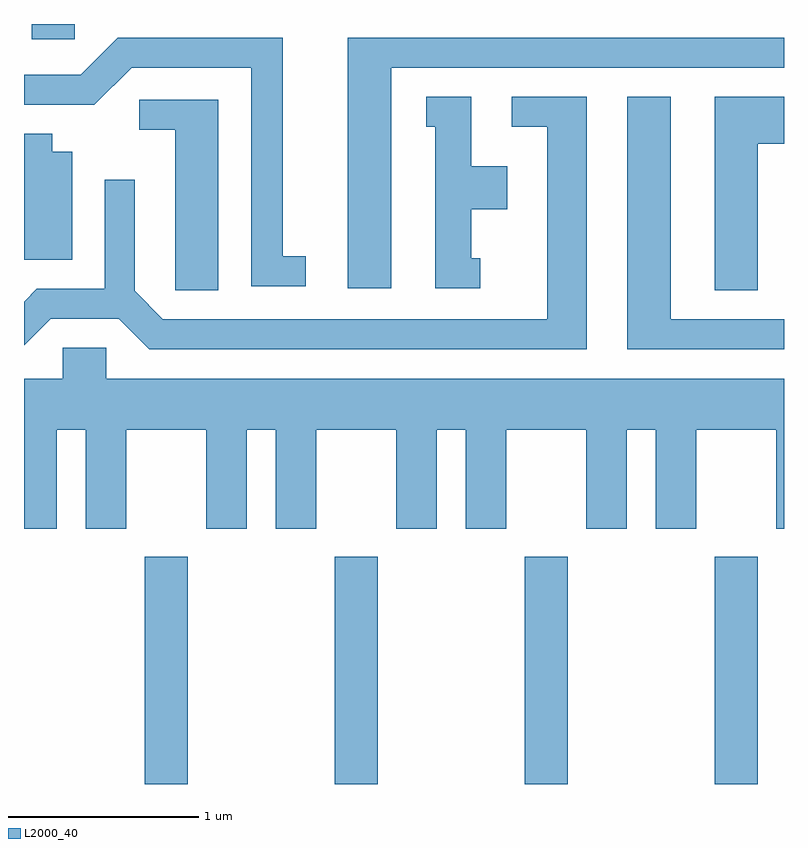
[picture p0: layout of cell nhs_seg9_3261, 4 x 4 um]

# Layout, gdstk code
import gdstk
lib = gdstk.Library(unit=1e-6, precision=1e-09)
def R(c, l, rs):  # rectangles x0, y0, x1, y1
    for r in rs: c.add(gdstk.rectangle(r[:2], r[2:], *l))
def A(c, l, x, y, w, h, nx, ny, dx, dy):  # array of equal rectangles
    R(c, l, [(x+i*dx, y+j*dy, x+i*dx+w, y+j*dy+h) for i in range(nx) for j in range(ny)])
def P(c, l, *ps):  # polygons
    for p in ps: c.add(gdstk.Polygon(p, *l))
L2000_40 = (2000, 40)

nhs_seg9_3261 = lib.new_cell('nhs_seg9_3261')
A(nhs_seg9_3261, L2000_40, 282.246, 1954.432, 0.228, 1.197, 4, 1, 1, 0)
R(nhs_seg9_3261, L2000_40, [(281.651,1958.351,281.879,1958.432)])
P(nhs_seg9_3261, L2000_40, [(283.544,1958.201),(285.611,1958.201),(285.611,1958.359),(283.316,1958.359),(283.316,1957.041),(283.544,1957.041)],
  [(283.093,1957.209),(282.974,1957.209),(282.974,1958.359),(282.104,1958.359),(281.909,1958.164),(281.611,1958.164),(281.611,1958.006),(281.982,1958.006),(282.177,1958.201),(282.806,1958.201),(282.806,1957.051),(283.093,1957.051)],
  [(285.611,1956.879),(285.014,1956.879),(285.014,1958.049),(284.786,1958.049),(284.786,1956.721),(285.611,1956.721)],
  [(284.013,1957.199),(283.964,1957.199),(283.964,1957.456),(284.154,1957.456),(284.154,1957.684),(283.964,1957.684),(283.964,1958.049),(283.728,1958.049),(283.728,1957.891),(283.776,1957.891),(283.776,1957.041),(284.013,1957.041)],
  [(284.574,1958.049),(284.178,1958.049),(284.178,1957.891),(284.366,1957.891),(284.366,1956.879),(282.342,1956.879),(282.194,1957.027),(282.194,1957.613),(282.036,1957.613),(282.036,1957.039),(281.679,1957.039),(281.611,1956.971),(281.611,1956.74),(281.752,1956.881),(282.109,1956.881),(282.269,1956.721),(284.574,1956.721)],
  [(285.474,1957.801),(285.611,1957.801),(285.611,1958.049),(285.246,1958.049),(285.246,1957.031),(285.474,1957.031)],
  [(282.634,1958.034),(282.218,1958.034),(282.218,1957.876),(282.406,1957.876),(282.406,1957.031),(282.634,1957.031)],
  [(281.864,1957.759),(281.759,1957.759),(281.759,1957.854),(281.611,1957.854),(281.611,1957.191),(281.864,1957.191)],
  [(282.044,1956.729),(281.816,1956.729),(281.816,1956.564),(281.611,1956.564),(281.611,1955.776),(281.784,1955.776),(281.784,1956.296),(281.936,1956.296),(281.936,1955.776),(282.149,1955.776),(282.149,1956.296),(282.571,1956.296),(282.571,1955.776),(282.784,1955.776),(282.784,1956.296),(282.936,1956.296),(282.936,1955.776),(283.149,1955.776),(283.149,1956.296),(283.571,1956.296),(283.571,1955.776),(283.784,1955.776),(283.784,1956.296),(283.936,1956.296),(283.936,1955.776),(284.149,1955.776),(284.149,1956.296),(284.571,1956.296),(284.571,1955.776),(284.784,1955.776),(284.784,1956.296),(284.936,1956.296),(284.936,1955.776),(285.149,1955.776),(285.149,1956.296),(285.571,1956.296),(285.571,1955.776),(285.611,1955.776),(285.611,1956.564),(282.044,1956.564)])

lib.write_gds('nhs_seg9_3261.gds')
